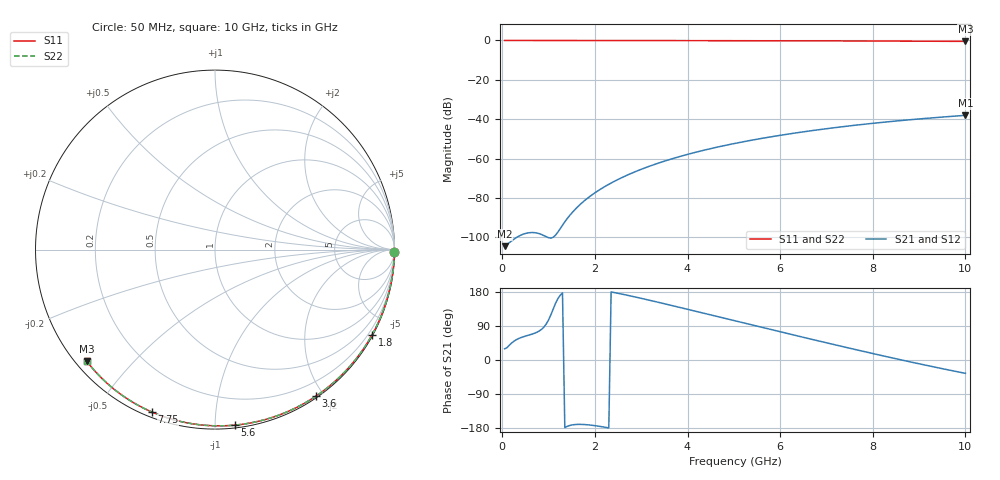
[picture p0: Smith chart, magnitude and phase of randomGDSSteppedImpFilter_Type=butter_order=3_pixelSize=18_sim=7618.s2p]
! freq	dB(S11)	phase(S11)	dB(S12)	phase(S12)
!  dB(S21)	phase(S21)	dB(S22)	phase(S22)
!S-par simulation data
#  GHz  S  DB  R 50
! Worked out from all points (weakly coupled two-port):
!   200 points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, 50 MHz to 10 GHz, reference 50 ohm
!   highest |S21| = -38.02 dB at 10 GHz (marker M1); lowest = -104.4 dB at 50 MHz (marker M2)
!   lowest |S11| = -0.5 dB at 10 GHz (marker M3), VSWR 36.80, Z = 1.55 - j18.6 ohm
!   |S11| at or under -10 dB: nowhere
!   |S22| runs from -0.5 to 0.0 dB; largest |S21 - S12| = 0
!   S11 on the Smith chart (normalised r, x): 50 MHz: open; 1.8 GHz: 0.03, -3.95; 3.6 GHz: 0.02, -1.90; 5.6 GHz: 0.02, -1.12; 7.75 GHz: 0.02, -0.68; 10 GHz: 0.03, -0.37
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0.05  -0.00 -0.8  -104.45 29.5  -104.45 29.5  -0.00 -0.8
0.45  -0.01 -7.2  -98.38 61.2  -98.38 61.2  -0.01 -7.2
0.9  -0.02 -14.4  -99.09 87.1  -99.09 87.1  -0.02 -14.4
1.75  -0.04 -27.7  -81.84 -170.1  -81.84 -170.1  -0.04 -27.7
1.8  -0.04 -28.4  -80.85 -170.5  -80.85 -170.5  -0.04 -28.4
1.85  -0.04 -29.2  -79.93 -171.0  -79.93 -171.0  -0.04 -29.2
2  -0.04 -31.5  -77.36 -173.2  -77.36 -173.2  -0.04 -31.5
2.15  -0.04 -33.8  -75.08 -176.0  -75.08 -176.0  -0.04 -33.8
2.35  -0.05 -36.9  -72.38 179.6  -72.38 179.6  -0.05 -36.9
2.55  -0.05 -39.9  -69.98 174.7  -69.98 174.7  -0.05 -39.9
2.95  -0.06 -45.9  -65.88 164.1  -65.88 164.1  -0.06 -45.9
3.4  -0.07 -52.6  -62.04 151.4  -62.04 151.4  -0.07 -52.6
3.6  -0.07 -55.5  -60.54 145.6  -60.54 145.6  -0.07 -55.5
4.3  -0.09 -65.6  -56.03 124.9  -56.03 124.9  -0.09 -65.6
5.05  -0.12 -76.1  -52.14 102.6  -52.14 102.6  -0.12 -76.1
5.6  -0.14 -83.5  -49.73 86.2  -49.73 86.2  -0.14 -83.5
6.15  -0.16 -90.8  -47.62 70.1  -47.62 70.1  -0.16 -90.8
6.7  -0.19 -98.0  -45.74 54.0  -45.74 54.0  -0.19 -98.0
7.75  -0.26 -111.3  -42.70 24.0  -42.70 24.0  -0.26 -111.3
8.35  -0.30 -118.8  -41.24 7.4  -41.24 7.4  -0.30 -118.8
9.15  -0.38 -128.6  -39.56 -13.9  -39.56 -13.9  -0.38 -128.6
10  -0.47 -139.1  -38.02 -35.2  -38.02 -35.2  -0.47 -139.1
